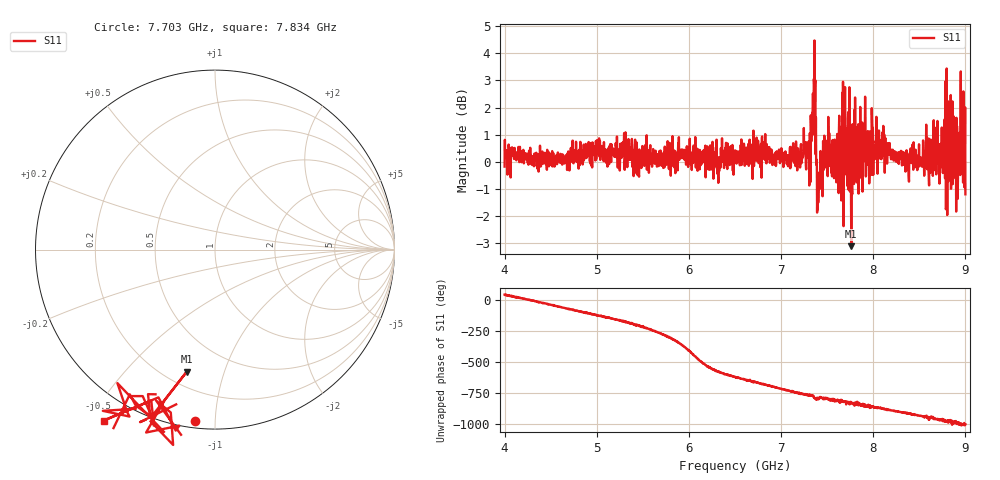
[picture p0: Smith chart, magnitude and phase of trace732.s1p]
! Created with skrf 1.8.0 (http://scikit-rf.org).
# Hz S RI R 50.0
!freq ReS11 ImS11
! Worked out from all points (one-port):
!   1601 points, 4 GHz to 9 GHz, reference 50 ohm
!   lowest |S11| = -3.1 dB at 7.762 GHz (marker M1), VSWR 5.64, Z = 14.2 - j37.7 ohm
!   |S11| at or under -10 dB: nowhere
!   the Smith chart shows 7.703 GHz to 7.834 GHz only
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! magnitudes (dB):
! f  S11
! 4 GHz  -0.2
! 4.625 GHz  -0.1
! 5.016 GHz  0.6
! 5.25 GHz  -0.3
! 5.875 GHz  0.3
! 6.5 GHz  0.1
! 7.125 GHz  0.2
! 7.294 GHz  0.3
! 7.328 GHz  0.8
! 7.347 GHz  2.5
! 7.369 GHz  2.8
! 7.4 GHz  -0.5
! 7.409 GHz  -0.6
! 7.478 GHz  -0.2
! 7.6 GHz  -0.8
! 7.688 GHz  2.3
! 7.75 GHz  0.3
! 7.762 GHz  -3.1
! 7.769 GHz  -1.0
! 7.8 GHz  -0.7
! 7.891 GHz  0.5
! 8.375 GHz  -0.2
! 8.766 GHz  0.8
! 8.819 GHz  -0.1
! 8.841 GHz  2.5
! 8.919 GHz  -0.5
! 8.972 GHz  0.6
! 9 GHz  -1.2
